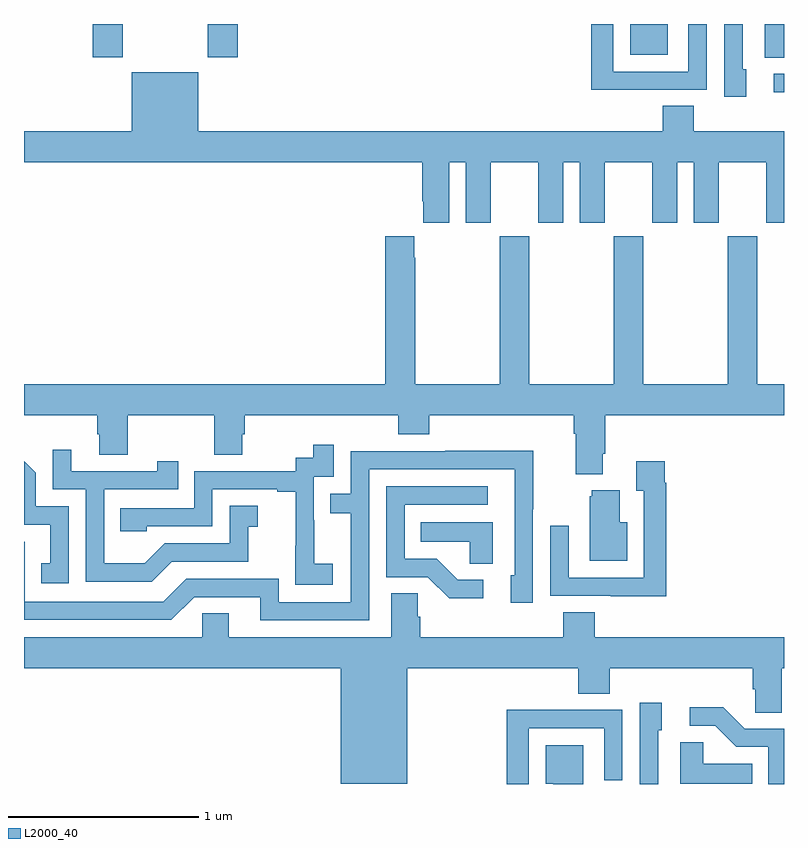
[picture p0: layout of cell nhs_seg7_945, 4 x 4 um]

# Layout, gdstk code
import gdstk
lib = gdstk.Library(unit=1e-6, precision=1e-09)
def R(c, l, rs):  # rectangles x0, y0, x1, y1
    for r in rs: c.add(gdstk.rectangle(r[:2], r[2:], *l))
def P(c, l, *ps):  # polygons
    for p in ps: c.add(gdstk.Polygon(p, *l))
L2000_40 = (2000, 40)

nhs_seg7_945 = lib.new_cell('nhs_seg7_945')
R(nhs_seg7_945, L2000_40, [(184.947,1011.641,185,1011.738), (184.898,1011.823,185,1012), (181.361,1011.825,181.521,1012), (181.966,1011.825,182.126,1012), (184.19,1011.839,184.387,1012)])
P(nhs_seg7_945, L2000_40, [(184.801,1011.762),(184.782,1011.762),(184.782,1012),(184.686,1012),(184.686,1011.618),(184.801,1011.618)],
  [(184.277,1011.654),(184.593,1011.654),(184.593,1012),(184.497,1012),(184.497,1011.75),(184.101,1011.75),(184.101,1012),(183.985,1012),(183.985,1011.653),(184.277,1011.653)],
  [(181.918,1011.745),(181.568,1011.745),(181.568,1011.436),(181,1011.436),(181,1011.272),(183.095,1011.272),(183.095,1011.067),(183.101,1011.067),(183.101,1010.955),(183.238,1010.955),(183.238,1011.272),(183.326,1011.272),(183.326,1010.955),(183.457,1010.955),(183.457,1011.272),(183.707,1011.272),(183.707,1010.955),(183.838,1010.955),(183.838,1011.272),(183.926,1011.272),(183.926,1010.955),(184.057,1010.955),(184.057,1011.272),(184.307,1011.272),(184.307,1010.955),(184.438,1010.955),(184.438,1011.272),(184.526,1011.272),(184.526,1010.955),(184.657,1010.955),(184.657,1011.272),(184.907,1011.272),(184.907,1010.955),(185,1010.955),(185,1011.436),(184.526,1011.436),(184.526,1011.569),(184.361,1011.569),(184.361,1011.436),(181.918,1011.436)],
  [(184.045,1009.738),(184.058,1009.738),(184.058,1009.94),(185,1009.94),(185,1010.104),(184.86,1010.104),(184.86,1010.884),(184.705,1010.884),(184.705,1010.104),(184.26,1010.104),(184.26,1010.884),(184.105,1010.884),(184.105,1010.104),(183.66,1010.104),(183.66,1010.884),(183.505,1010.884),(183.505,1010.104),(183.06,1010.104),(183.06,1010.771),(183.055,1010.771),(183.055,1010.884),(182.9,1010.884),(182.9,1010.104),(181,1010.104),(181,1009.94),(181.385,1009.94),(181.385,1009.842),(181.397,1009.842),(181.397,1009.732),(181.545,1009.732),(181.545,1009.94),(182.002,1009.94),(182.002,1009.732),(182.149,1009.732),(182.149,1009.842),(182.162,1009.842),(182.162,1009.94),(182.969,1009.94),(182.969,1009.841),(183.134,1009.841),(183.134,1009.94),(183.893,1009.94),(183.893,1009.844),(183.905,1009.844),(183.905,1009.631),(184.045,1009.631)],
  [(182.626,1009.159),(182.528,1009.159),(182.528,1009.388),(182.526,1009.388),(182.526,1009.617),(182.631,1009.617),(182.631,1009.786),(182.523,1009.786),(182.523,1009.716),(182.43,1009.716),(182.43,1009.647),(181.896,1009.647),(181.896,1009.452),(181.507,1009.452),(181.507,1009.329),(181.647,1009.329),(181.647,1009.356),(181.992,1009.356),(181.992,1009.551),(182.333,1009.551),(182.333,1009.539),(182.429,1009.539),(182.429,1009.255),(182.428,1009.255),(182.428,1009.049),(182.626,1009.049)],
  [(181.777,1009.17),(182.181,1009.17),(182.181,1009.355),(182.23,1009.355),(182.23,1009.465),(182.082,1009.465),(182.082,1009.266),(181.74,1009.266),(181.636,1009.162),(181.422,1009.162),(181.422,1009.551),(181.811,1009.551),(181.811,1009.699),(181.7,1009.699),(181.7,1009.647),(181.249,1009.647),(181.249,1009.759),(181.152,1009.759),(181.152,1009.551),(181.326,1009.551),(181.326,1009.065),(181.672,1009.065)],
  [(182.817,1009.656),(183.582,1009.656),(183.582,1009.098),(183.563,1009.098),(183.563,1008.954),(183.678,1008.954),(183.678,1009.447),(183.681,1009.447),(183.681,1009.754),(183.217,1009.754),(183.217,1009.752),(182.721,1009.752),(182.721,1009.527),(182.611,1009.527),(182.611,1009.426),(182.721,1009.426),(182.721,1008.957),(182.34,1008.957),(182.34,1009.08),(181.854,1009.08),(181.734,1008.96),(181.005,1008.96),(181.005,1009.275),(181,1009.275),(181,1008.864),(181.776,1008.864),(181.896,1008.984),(182.243,1008.984),(182.243,1008.861),(182.817,1008.861)],
  [(181.236,1009.461),(181.062,1009.461),(181.062,1009.638),(181,1009.7),(181,1009.365),(181.139,1009.365),(181.139,1009.161),(181.09,1009.161),(181.09,1009.056),(181.236,1009.056)],
  [(184.379,1009.586),(184.372,1009.586),(184.372,1009.699),(184.223,1009.699),(184.223,1009.543),(184.263,1009.543),(184.263,1009.086),(183.867,1009.086),(183.867,1009.36),(183.771,1009.36),(183.771,1008.99),(184.087,1008.99),(184.087,1008.989),(184.379,1008.989)],
  [(183.418,1009.074),(183.283,1009.074),(183.172,1009.185),(183.003,1009.185),(183.003,1009.47),(183.442,1009.47),(183.442,1009.566),(182.907,1009.566),(182.907,1009.089),(183.126,1009.089),(183.239,1008.977),(183.418,1008.977)],
  [(184.174,1009.378),(184.135,1009.378),(184.135,1009.546),(183.989,1009.546),(183.989,1009.515),(183.977,1009.515),(183.977,1009.175),(184.174,1009.175)],
  [(183.466,1009.378),(183.088,1009.378),(183.088,1009.274),(183.345,1009.274),(183.345,1009.159),(183.466,1009.159)],
  [(182.666,1008.002),(183.016,1008.002),(183.016,1008.608),(183.917,1008.608),(183.917,1008.475),(184.082,1008.475),(184.082,1008.608),(184.835,1008.608),(184.835,1008.499),(184.848,1008.499),(184.848,1008.376),(184.987,1008.376),(184.987,1008.608),(185,1008.608),(185,1008.772),(184.004,1008.772),(184.004,1008.905),(183.839,1008.905),(183.839,1008.772),(183.086,1008.772),(183.086,1008.881),(183.072,1008.881),(183.072,1009.004),(182.933,1009.004),(182.933,1008.772),(182.077,1008.772),(182.077,1008.899),(181.938,1008.899),(181.938,1008.772),(181,1008.772),(181,1008.608),(182.666,1008.608)],
  [(184.338,1008.282),(184.357,1008.282),(184.357,1008.427),(184.242,1008.427),(184.242,1008),(184.338,1008)],
  [(185,1008.291),(184.794,1008.291),(184.681,1008.404),(184.503,1008.404),(184.503,1008.306),(184.637,1008.306),(184.748,1008.195),(184.917,1008.195),(184.917,1008),(185,1008)],
  [(183.657,1008.294),(184.053,1008.294),(184.053,1008.021),(184.149,1008.021),(184.149,1008.39),(183.833,1008.39),(183.833,1008.392),(183.541,1008.392),(183.541,1008),(183.657,1008)],
  [(184.832,1008.106),(184.575,1008.106),(184.575,1008.221),(184.454,1008.221),(184.454,1008.002),(184.832,1008.002)],
  [(183.943,1008.205),(183.746,1008.205),(183.746,1008.002),(183.785,1008.002),(183.785,1008),(183.943,1008)])

lib.write_gds('nhs_seg7_945.gds')
